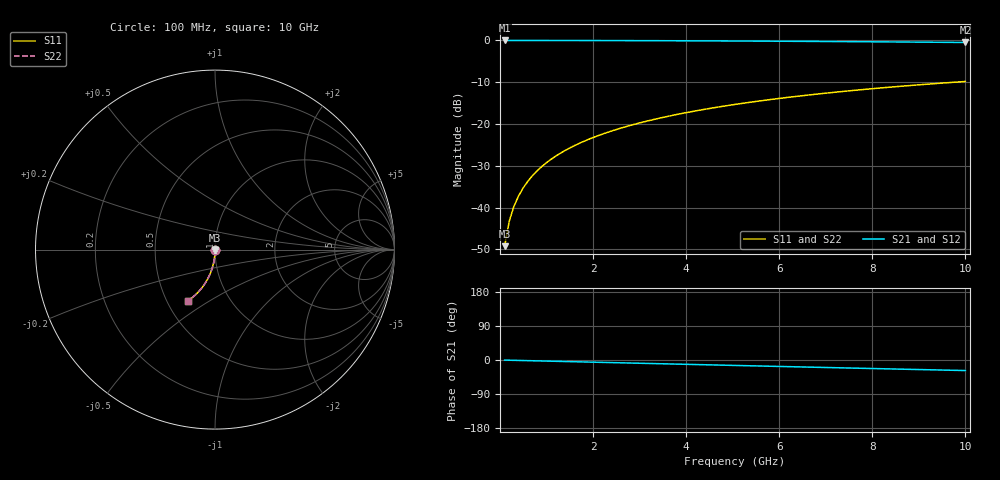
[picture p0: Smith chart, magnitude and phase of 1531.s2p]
# Hz S RI R 50.00
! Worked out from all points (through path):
!   100 points, 100 MHz to 10 GHz, reference 50 ohm
!   highest |S21| = 0.00 dB at 100 MHz (marker M1); lowest = -0.5 dB at 10 GHz (marker M2)
!   group delay of S21, straight-line fit = 7.75 ps
!   lowest |S11| = -49.2 dB at 100 MHz (marker M3), VSWR 1.01, Z = 50 - j0.346 ohm
!   |S11| at or under -10 dB: start of sweep to 9.758 GHz
!   |S22| runs from -49.2 to -9.8 dB; largest |S21 - S12| = 0
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1e8  0.000244 -0.00345  0.9997 -0.00499  0.9997 -0.00499  0.000244 -0.00345
2e8  0.00019 -0.00691  0.9997 -0.00998  0.9997 -0.00998  0.00019 -0.00691
3e8  0.000101 -0.0104  0.9996 -0.015  0.9996 -0.015  0.000101 -0.0104
4e8  -2.26e-05 -0.0138  0.9994 -0.02  0.9994 -0.02  -2.26e-05 -0.0138
5e8  -0.000181 -0.0173  0.9992 -0.0249  0.9992 -0.0249  -0.000181 -0.0173
6e8  -0.000374 -0.0207  0.999 -0.0299  0.999 -0.0299  -0.000374 -0.0207
7e8  -0.000601 -0.0242  0.9988 -0.0349  0.9988 -0.0349  -0.000601 -0.0242
8e8  -0.000863 -0.0276  0.9985 -0.0399  0.9985 -0.0399  -0.000863 -0.0276
9e8  -0.00116 -0.0311  0.9982 -0.0449  0.9982 -0.0449  -0.00116 -0.0311
1.1e9  -0.00185 -0.0379  0.9975 -0.0548  0.9975 -0.0548  -0.00185 -0.0379
1.4e9  -0.00315 -0.0482  0.9961 -0.0697  0.9961 -0.0697  -0.00315 -0.0482
1.8e9  -0.00536 -0.0618  0.9937 -0.0895  0.9937 -0.0895  -0.00536 -0.0618
2.1e9  -0.00737 -0.072  0.9915 -0.1042  0.9915 -0.1042  -0.00737 -0.072
2.5e9  -0.0105 -0.0854  0.9882 -0.1238  0.9882 -0.1238  -0.0105 -0.0854
2.9e9  -0.0142 -0.0987  0.9842 -0.1432  0.9842 -0.1432  -0.0142 -0.0987
3.4e9  -0.0195 -0.115  0.9785 -0.1673  0.9785 -0.1673  -0.0195 -0.115
4.2e9  -0.0296 -0.1404  0.9677 -0.2051  0.9677 -0.2051  -0.0296 -0.1404
5.1e9  -0.0433 -0.1678  0.953 -0.2464  0.953 -0.2464  -0.0433 -0.1678
5.9e9  -0.0573 -0.1909  0.9379 -0.2819  0.9379 -0.2819  -0.0573 -0.1909
6.7e9  -0.0729 -0.2126  0.9211 -0.3162  0.9211 -0.3162  -0.0729 -0.2126
8.4e9  -0.1107 -0.2537  0.8801 -0.384  0.8801 -0.384  -0.1107 -0.2537
1e10  -0.1508 -0.2856  0.8363 -0.4414  0.8363 -0.4414  -0.1508 -0.2856
